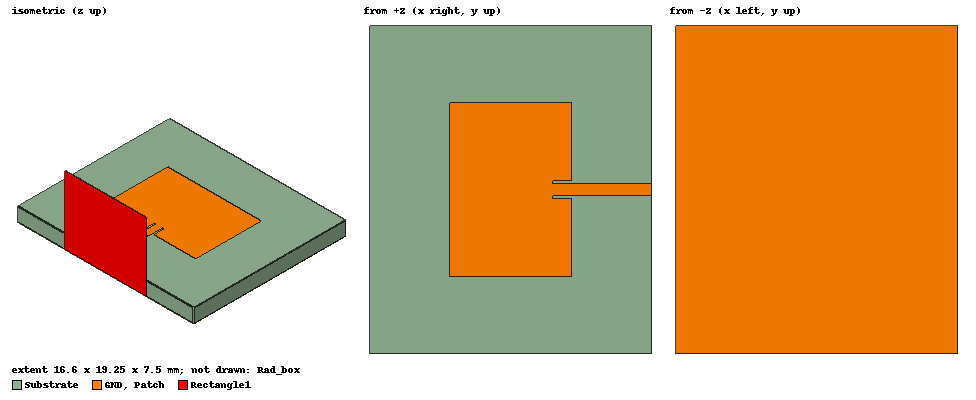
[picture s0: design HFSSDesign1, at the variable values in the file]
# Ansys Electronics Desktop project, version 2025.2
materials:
  vacuum: permittivity=1
  copper: permeability=0.999991 conductivity=58000000
  Material1: permittivity=3.3 dielectric_loss_tangent=0.003
  air: permittivity=1.0006 permeability=1.0000004

design HFSSDesign1 (HFSS, HFSS Terminal Network, model units mm)
options: Calculate_Lossy_Dielectrics
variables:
  L_gnd = 16.6mm
  W_gnd = 19.25mm
  copper_height = 0.035mm
  sub_height = 1.5mm
  L_patch = 7.15mm
  W_patch = 10.2mm
  W_gap = 1.1mm
  L_fed = 1.1mm
  W_mlin = 0.7mm
  lambda = 30mm
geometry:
  GND [copper] = box(corner=(-L_gnd/2, -W_gnd/2, 0mm), size=(L_gnd, W_gnd, copper_height))
  Substrate [Material1] = box(corner=(-L_gnd/2, -W_gnd/2, copper_height), size=(L_gnd, W_gnd, sub_height))
  Patch [copper] = box(corner=(-L_patch/2, -W_patch/2, copper_height+sub_height), size=(L_patch, W_patch, copper_height))
  gap_region = box(corner=(L_patch/2 -L_fed, -W_gap/2, copper_height+sub_height), size=(L_fed, W_gap, copper_height))
  Patch.subtract(gap_region)
  feed_line = box(corner=(L_patch/2-L_fed-1mm, -W_mlin/2, copper_height+sub_height), size=(L_gnd/2-(L_patch/2-L_fed)+1mm, W_mlin, copper_height))
  Rad_box [air] = box(corner=(-L_gnd/2-lambda/4, -W_gnd/2-lambda/4, 0), size=(L_gnd+lambda/4, W_gnd+lambda/2, 10mm))
  Rectangle1 = rectangle(corner=(L_gnd/2, -3*sub_height, 0), y_size=6*sub_height, z_size=5*sub_height)
  Patch.unite(feed_line)
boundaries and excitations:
  Rad1: Radiation Objects=Rad_box
  Patch_T1: Terminal port=1 Faces=Patch.face(at (8.3, 0, 1.5525)) TerminalResistance=50ohm
  1: Wave Port Faces=Rectangle1.face WavePortType=Terminal NumModes=1
  reference conductors: GND
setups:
  Setup1: HfssDriven Frequency=10GHz MaxDeltaS=0.02 MaximumPasses=20 MinimumPasses=1 MinimumConvergedPasses=1 PercentRefinement=30 BasisOrder=1 PortAccuracy=2 DrivenSolverType="Direct Solver"
    sweep Sweep: 9GHz to 11GHz step 0.125GHz; Type=Discrete SaveFields
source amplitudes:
  1:1: 1V 0deg
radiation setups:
  Infinite Sphere1: Infinite Sphere Theta=-180deg..180deg step 2deg Phi=-180deg..180deg step 2deg
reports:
  Gain Plot1: dB(GainTotal) vs Theta on Setup1 : LastAdaptive, Infinite Sphere1 [Phi=0deg Freq=10GHz]; markers m1 at 0deg
  Gain Plot2: dB(GainTotal) vs Theta on Setup1 : LastAdaptive, Infinite Sphere1 [Phi=90deg Freq=10GHz]; markers m1 at 0deg
  Gain Plot3: dB(GainTotal) vs Phi, Theta on Setup1 : LastAdaptive, Infinite Sphere1 [Freq=10GHz]
  Polarization Ratio Plot1: dB(PolarizationRatioL3X) vs Theta on Setup1 : LastAdaptive, Infinite Sphere1 [Phi=0deg,90deg Freq=10GHz]; markers MX1 at x=0
  Terminal S Parameter Plot1: dB(St(Patch_T1,Patch_T1)) vs Freq on Setup1 : Sweep; markers MX1 at x=1e+10, MY1 at y=-10
  Polarization Ratio Plot2: dB10(PolarizationRatioL3X) vs Theta on Setup1 : LastAdaptive, Infinite Sphere1 [Phi=0deg,90deg Freq=10GHz]; markers MX1 at x=0
